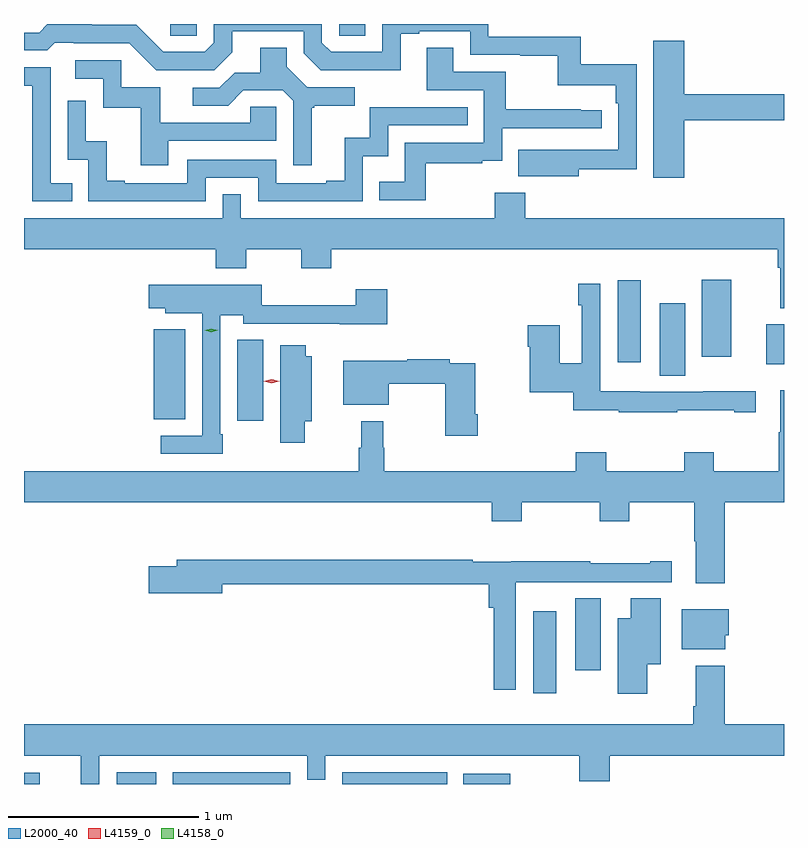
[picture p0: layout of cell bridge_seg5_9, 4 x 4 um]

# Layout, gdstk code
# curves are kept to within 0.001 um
import gdstk
lib = gdstk.Library(unit=1e-6, precision=1e-09)
def R(c, l, rs):  # rectangles x0, y0, x1, y1
    for r in rs: c.add(gdstk.rectangle(r[:2], r[2:], *l))
def P(c, l, *ps):  # polygons
    for p in ps: c.add(gdstk.Polygon(p, *l))
L2000_40 = (2000, 40)
L4158_0 = (4158, 0)
L4159_0 = (4159, 0)

bridge_seg5_9 = lib.new_cell('bridge_seg5_9')
R(bridge_seg5_9, L2000_40, [(903.496,837.962,903.58,838.021), (903.984,837.962,904.193,838.023), (904.278,837.962,904.896,838.023), (905.172,837.962,905.724,838.023), (905.809,837.962,906.055,838.017), (906.176,838.44,906.298,838.87), (906.398,838.56,906.532,838.94), (904.619,839.874,904.756,840.299), (904.178,839.881,904.345,840.355), (906.842,840.112,906.976,840.493), (907.403,840.17,907.496,840.382), (906.62,840.183,906.742,840.613), (907.064,840.21,907.219,840.616), (904.267,841.9,904.404,841.962), (905.154,841.9,905.293,841.962)])
P(bridge_seg5_9, L2000_40, [(906.415,841.198),(906.72,841.198),(906.72,841.75),(906.427,841.75),(906.427,841.896),(905.94,841.896),(905.94,841.962),(905.382,841.962),(905.382,841.815),(905.112,841.815),(905.064,841.863),(905.064,841.962),(904.494,841.962),(904.494,841.863),(904.446,841.815),(904.23,841.815),(904.088,841.957),(903.852,841.957),(903.852,841.96),(903.619,841.96),(903.577,841.917),(903.496,841.917),(903.496,841.824),(903.619,841.824),(903.658,841.863),(903.757,841.863),(903.757,841.86),(904.05,841.86),(904.191,841.719),(904.497,841.719),(904.591,841.813),(904.591,841.923),(904.968,841.923),(904.968,841.809),(905.058,841.719),(905.479,841.718),(905.479,841.911),(905.575,841.911),(905.575,841.923),(905.844,841.923),(905.844,841.8),(906.109,841.8),(906.109,841.795),(906.306,841.795),(906.306,841.64),(906.611,841.64),(906.611,841.544),(906.624,841.544),(906.624,841.299),(906.097,841.3),(906.097,841.16),(906.415,841.16)],
  [(906.97,841.456),(907.496,841.456),(907.496,841.592),(906.97,841.592),(906.97,841.873),(906.809,841.873),(906.809,841.152),(906.97,841.152)],
  [(905.611,841.23),(905.909,841.23),(905.909,841.241),(906.012,841.241),(906.012,841.413),(906.538,841.413),(906.538,841.509),(906.425,841.509),(906.425,841.514),(906.032,841.514),(906.032,841.71),(905.755,841.71),(905.755,841.838),(905.615,841.838),(905.615,841.614),(905.916,841.614),(905.916,841.338),(905.5,841.338),(905.5,841.132),(905.365,841.132),(905.365,841.035),(905.611,841.035)],
  [(905.011,841.521),(905.023,841.521),(905.023,841.532),(905.236,841.532),(905.236,841.629),(904.986,841.629),(904.879,841.736),(904.879,841.838),(904.739,841.838),(904.739,841.706),(904.604,841.706),(904.524,841.626),(904.383,841.626),(904.383,841.533),(904.57,841.533),(904.651,841.614),(904.857,841.614),(904.914,841.557),(904.914,841.218),(905.011,841.218)],
  [(904.255,841.347),(904.824,841.347),(904.824,841.527),(904.687,841.527),(904.687,841.443),(904.213,841.443),(904.213,841.629),(904.008,841.629),(904.008,841.77),(903.765,841.77),(903.765,841.674),(903.912,841.674),(903.912,841.521),(904.111,841.521),(904.111,841.218),(904.255,841.218)],
  [(903.749,841.125),(903.636,841.125),(903.636,841.734),(903.496,841.734),(903.496,841.638),(903.54,841.638),(903.54,841.029),(903.749,841.029)],
  [(904.452,841.152),(904.728,841.152),(904.728,841.029),(905.28,841.029),(905.28,841.265),(905.412,841.265),(905.412,841.428),(905.831,841.428),(905.831,841.524),(905.316,841.524),(905.316,841.363),(905.183,841.363),(905.183,841.138),(905.087,841.138),(905.087,841.125),(904.824,841.125),(904.824,841.248),(904.356,841.248),(904.356,841.125),(904.027,841.125),(904.027,841.138),(903.932,841.138),(903.932,841.346),(903.822,841.346),(903.822,841.558),(903.726,841.558),(903.726,841.248),(903.834,841.248),(903.834,841.029),(904.452,841.029)],
  [(907.496,840.94),(906.134,840.94),(906.134,841.075),(905.974,841.075),(905.974,840.94),(904.638,840.94),(904.638,841.067),(904.542,841.067),(904.542,840.94),(903.496,840.94),(903.496,840.776),(904.505,840.776),(904.505,840.677),(904.665,840.677),(904.665,840.776),(904.954,840.776),(904.954,840.677),(905.114,840.677),(905.114,840.776),(907.463,840.776),(907.463,840.68),(907.475,840.68),(907.475,840.467),(907.496,840.467)],
  [(906.935,839.929),(907.235,839.929),(907.235,839.919),(907.348,839.919),(907.348,840.029),(907.072,840.029),(907.072,840.027),(906.738,840.027),(906.738,840.028),(906.528,840.028),(906.528,840.595),(906.412,840.595),(906.412,840.482),(906.432,840.482),(906.432,840.176),(906.316,840.176),(906.316,840.376),(906.146,840.376),(906.146,840.263),(906.158,840.263),(906.158,840.023),(906.386,840.023),(906.386,839.929),(906.625,839.929),(906.625,839.919),(906.935,839.919)],
  [(904.543,839.803),(904.53,839.803),(904.53,840.428),(904.65,840.428),(904.65,840.384),(905.159,840.384),(905.159,840.383),(905.408,840.383),(905.408,840.565),(905.243,840.565),(905.243,840.482),(904.746,840.482),(904.746,840.589),(904.152,840.589),(904.152,840.467),(904.239,840.467),(904.239,840.44),(904.434,840.44),(904.434,839.796),(904.215,839.796),(904.215,839.7),(904.543,839.7)],
  [(904.974,839.87),(905.011,839.87),(905.011,840.214),(904.979,840.214),(904.979,840.271),(904.844,840.271),(904.844,839.757),(904.974,839.757)],
  [(905.885,839.908),(905.872,839.908),(905.872,840.177),(905.738,840.177),(905.738,840.197),(905.512,840.197),(905.512,840.19),(905.177,840.19),(905.177,839.957),(905.416,839.957),(905.416,840.069),(905.714,840.069),(905.714,839.796),(905.885,839.796)],
  [(907.184,839.444),(907.496,839.444),(907.496,840.034),(907.475,840.034),(907.475,839.813),(907.468,839.813),(907.468,839.608),(907.125,839.608),(907.125,839.707),(906.97,839.707),(906.97,839.608),(906.561,839.608),(906.561,839.707),(906.401,839.707),(906.401,839.608),(905.393,839.608),(905.393,839.732),(905.386,839.732),(905.386,839.872),(905.272,839.872),(905.272,839.732),(905.257,839.732),(905.257,839.608),(903.496,839.608),(903.496,839.444),(905.957,839.444),(905.957,839.345),(906.117,839.345),(906.117,839.444),(906.526,839.444),(906.526,839.345),(906.681,839.345),(906.681,839.444),(907.024,839.444),(907.024,839.24),(907.031,839.24),(907.031,839.019),(907.184,839.019)],
  [(906.084,839.024),(906.294,839.024),(906.294,839.025),(906.904,839.025),(906.904,839.134),(906.791,839.134),(906.791,839.124),(906.476,839.124),(906.476,839.134),(906.06,839.134),(906.06,839.132),(905.858,839.132),(905.858,839.143),(904.301,839.143),(904.301,839.109),(904.152,839.109),(904.152,838.967),(904.54,838.967),(904.54,839.014),(905.942,839.014),(905.942,838.889),(905.968,838.889),(905.968,838.458),(906.084,838.458)],
  [(906.775,838.592),(906.847,838.592),(906.847,838.94),(906.689,838.94),(906.689,838.834),(906.62,838.834),(906.62,838.437),(906.775,838.437)],
  [(907.186,838.746),(907.204,838.746),(907.204,838.882),(906.959,838.882),(906.959,838.67),(907.186,838.67)],
  [(903.891,838.112),(904.986,838.112),(904.986,837.985),(905.082,837.985),(905.082,838.112),(906.418,838.112),(906.418,837.977),(906.578,837.977),(906.578,838.112),(907.496,838.112),(907.496,838.276),(907.184,838.276),(907.184,838.585),(907.031,838.585),(907.031,838.372),(907.019,838.372),(907.019,838.276),(903.496,838.276),(903.496,838.112),(903.794,838.112),(903.794,837.962),(903.891,837.962)])
P(bridge_seg5_9, L4158_0, [(904.482,840.339),(904.447,840.349),(904.447,840.349),(904.447,840.349),(904.482,840.359),(904.517,840.349),(904.517,840.349),(904.517,840.349)])
P(bridge_seg5_9, L4159_0, [(904.799,840.072),(904.758,840.082),(904.758,840.083),(904.758,840.083),(904.8,840.092),(904.84,840.082),(904.84,840.082),(904.84,840.081)])

lib.write_gds('bridge_seg5_9.gds')
